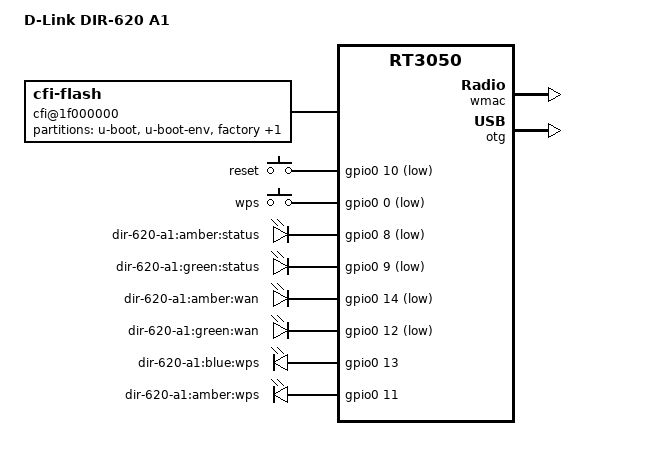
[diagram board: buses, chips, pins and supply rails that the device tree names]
/dts-v1/;

#include "rt3050.dtsi"

#include <dt-bindings/gpio/gpio.h>
#include <dt-bindings/input/input.h>

/ {
	compatible = "dlink,dir-620-a1", "ralink,rt3050-soc";
	model = "D-Link DIR-620 A1";

	aliases {
		led-status = &led_status_green;
	};

	cfi@1f000000 {
		compatible = "cfi-flash";
		reg = <0x1f000000 0x800000>;
		bank-width = <2>;
		device-width = <2>;

		partitions {
			compatible = "fixed-partitions";
			#address-cells = <1>;
			#size-cells = <1>;

			partition@0 {
				label = "u-boot";
				reg = <0x0 0x30000>;
				read-only;
			};

			partition@30000 {
				label = "u-boot-env";
				reg = <0x30000 0x10000>;
				read-only;
			};

			factory: partition@40000 {
				label = "factory";
				reg = <0x40000 0x10000>;
				read-only;
			};

			partition@50000 {
				label = "firmware";
				reg = <0x50000 0x7b0000>;
			};
		};
	};

	gpio-keys-polled {
		compatible = "gpio-keys-polled";
		poll-interval = <20>;

		reset {
			label = "reset";
			gpios = <&gpio0 10 GPIO_ACTIVE_LOW>;
			linux,code = <KEY_RESTART>;
		};

		wps {
			label = "wps";
			gpios = <&gpio0 0 GPIO_ACTIVE_LOW>;
			linux,code = <KEY_WPS_BUTTON>;
		};
	};

	gpio-leds {
		compatible = "gpio-leds";

		status {
			label = "dir-620-a1:amber:status";
			gpios = <&gpio0 8 GPIO_ACTIVE_LOW>;
		};

		led_status_green: status2 {
			label = "dir-620-a1:green:status";
			gpios = <&gpio0 9 GPIO_ACTIVE_LOW>;
		};

		wan {
			label = "dir-620-a1:amber:wan";
			gpios = <&gpio0 14 GPIO_ACTIVE_LOW>;
		};

		wan2 {
			label = "dir-620-a1:green:wan";
			gpios = <&gpio0 12 GPIO_ACTIVE_LOW>;
		};

		wps {
			label = "dir-620-a1:blue:wps";
			gpios = <&gpio0 13 GPIO_ACTIVE_HIGH>;
		};

		wps2 {
			label = "dir-620-a1:amber:wps";
			gpios = <&gpio0 11 GPIO_ACTIVE_HIGH>;
		};
	};
};

&pinctrl {
	state_default: pinctrl0 {
		gpio {
			ralink,group = "i2c", "jtag", "rgmii", "mdio", "uartf";
			ralink,function = "gpio";
		};
	};
};

&ethernet {
	mtd-mac-address = <&factory 0x4>;
};

&esw {
	mediatek,portmap = <0x2f>;
};

&wmac {
	ralink,mtd-eeprom = <&factory 0>;
};

&otg {
	status = "okay";
};
